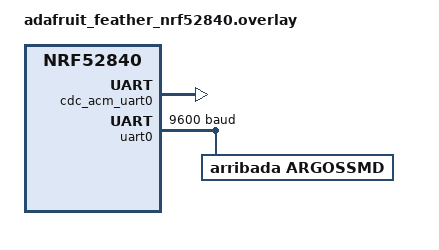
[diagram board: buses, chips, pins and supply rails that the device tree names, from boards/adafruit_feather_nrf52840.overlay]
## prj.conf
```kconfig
CONFIG_ZTEST=y
CONFIG_ZTEST_NEW_API=y

# Enable argos smd device driver
CONFIG_UART_INTERRUPT_DRIVEN=y
CONFIG_SERIAL=y
CONFIG_ARGOS_SMD=y

# Logging
CONFIG_LOG=y
```

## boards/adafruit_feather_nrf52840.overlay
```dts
/*
 * Copyright (c) 2021 Nordic Semiconductor ASA
 *
 * SPDX-License-Identifier: Apache-2.0
 */

/ {
	chosen {
		zephyr,console = &cdc_acm_uart0;
	};
	aliases {
		smd-uart = &uart0;
	};

};

&zephyr_udc0 {
	cdc_acm_uart0: cdc_acm_uart0 {
		compatible = "zephyr,cdc-acm-uart";
	};
};

&uart0 {
	compatible = "nordic,nrf-uart"; 
	status = "okay";
	current-speed = <9600>;
	
	argossmd{
		compatible = "arribada,argossmd";
	};
};
```

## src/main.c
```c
#include <zephyr/kernel.h>
#include <zephyr/drivers/uart.h>
#include <stdio.h>
#include <string.h>

#include <../../drivers/argos-smd/argos_smd.h>

#include <zephyr/ztest.h>

#include <zephyr/logging/log.h>
LOG_MODULE_REGISTER(argossmd_tests);

ZTEST_SUITE(argossmd_tests, NULL, NULL, NULL, NULL, NULL);

/**
 * @brief Test encoding of sensor data
 *
 * Tests the encoding of single and multiple sensor data packages
 *
 */
ZTEST(argossmd_tests, test_driver)
{
	const struct device *dev = DEVICE_DT_GET_ONE(arribada_argossmd);

	zassert_equal(1, 1);
}
```
